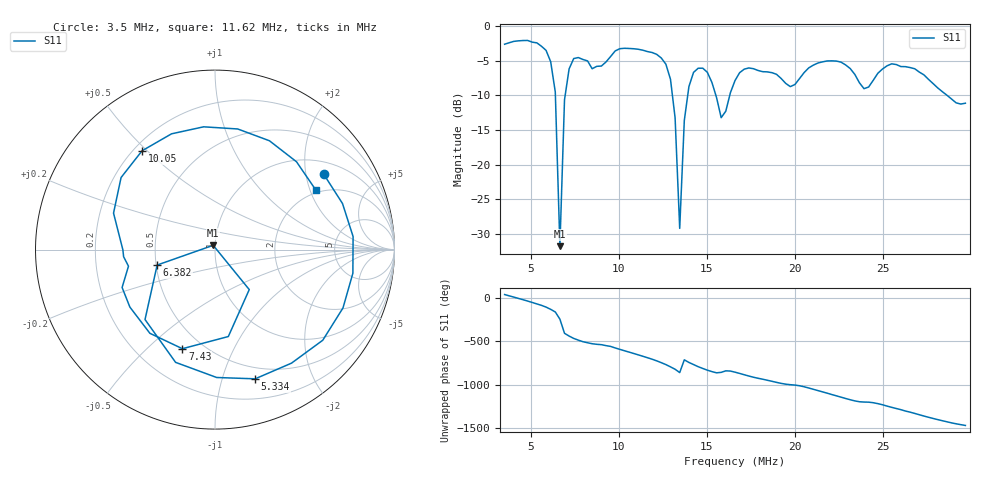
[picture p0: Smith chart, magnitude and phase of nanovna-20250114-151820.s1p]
# Hz S RI R 50
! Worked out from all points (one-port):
!   101 points, 3.5 MHz to 29.7 MHz, reference 50 ohm
!   lowest |S11| = -31.7 dB at 6.644 MHz (marker M1), VSWR 1.05, Z = 49 + j2.34 ohm
!   |S11| at or under -10 dB: 13.04 MHz to 13.91 MHz (872.2 kHz wide, 6.47 % of centre); 15.51 MHz to 16.3 MHz (791.9 kHz wide, 4.98 % of centre); 28.65 MHz to end of sweep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
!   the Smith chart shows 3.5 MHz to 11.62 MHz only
!   S11 on the Smith chart (normalised r, x): 3.5 MHz: 1.38, +2.53; 5.334 MHz: 0.39, -1.28; 6.382 MHz: 0.51, -0.10; 7.43 MHz: 0.39, -0.65; 10.05 MHz: 0.23, +0.48; 11.62 MHz: 1.90, +2.20
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3500000  0.6059 0.4197
4286000  0.7682 -0.1317
5334000  0.2238 -0.7199
6382000  -0.3223 -0.086
6644000  -0.00997 0.0239
6906000  0.1909 -0.2228
7430000  -0.1815 -0.5522
8216000  -0.5176 -0.211
1.005e7  -0.4065 0.5504
1.0836e7  0.1264 0.6721
1.1622e7  0.5619 0.3317
1.2146e7  0.6207 -0.0576
1.2932e7  0.1112 -0.3967
1.3194e7  -0.0444 -0.2131
1.3456e7  -0.0265 -0.0225
1.3718e7  0.207 0.0224
1.4242e7  0.3111 -0.3414
1.529e7  -0.2451 -0.3038
1.5814e7  -0.1599 -0.1481
1.66e7  -0.2858 -0.2844
1.7648e7  -0.4785 0.1106
2.0006e7  0.0855 0.3678
2.1578e7  0.55 -0.0108
2.315e7  -0.00942 -0.4925
2.5508e7  -0.5322 -0.0172
2.6556e7  -0.2993 0.4011
2.7866e7  0.2247 0.3107
2.97e7  0.2493 -0.1209
